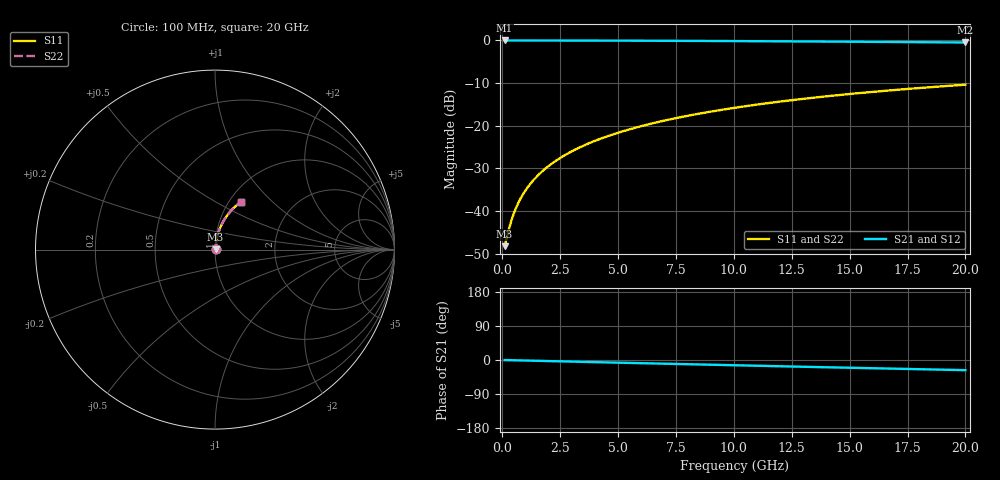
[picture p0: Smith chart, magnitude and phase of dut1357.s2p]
! Touchstone file exported from HFSS 2026.1.0
!  File:  C:/ffzhzh/LocalFiles/Ansys_Project_Files/temp_train_TMRDL_1357_1783165637_51560.aedt
!  Generated:  07:48:30 PM Jul  4, 2026
!  Design:  TMRDL
!  Project:  temp_train_TMRDL_1357_1783165637_51560
! Variables:
!  h_bsmrdl = 2um
!  h_ox = 20um
!  h_rdl = 5um
!  h_sub = 80um
!  h_tmrdl = 2.77um
!  h_tsv = 80um
!  h_via = 3um
!  l_bsmrdl = 300um
!  l_sub = 737.16um
!  l_tmrdl = 337.16um
!  m_sub = 200um
!  pitch = 38.82um
!  r_tsv = 6um
!  s_tmrdl = 10um
!  w_bsmrdl = 18um
!  w_sub = 500um
!  w_tmrdl = 13.04um
!  x_tsv_center1 = 343.68um
!  x_tsv_center2 = 661.68um
!  x_tsv_center3 = 1011.88um
!  x_tsv_center4 = 1329.88um
!  x_tsv_center5 = 1680.08um
!  x_tsv_center6 = 1998.08um
# GHz S MA R 50.000000
! Terminal data exported
! Port[1] = TM_RDL1_1_T1
! Port[2] = TM_RDL1_1_T2
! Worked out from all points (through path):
!   200 points, 100 MHz to 20 GHz, reference 50 ohm
!   highest |S21| = -0.03 dB at 100 MHz (marker M1); lowest = -0.5 dB at 20 GHz (marker M2)
!   group delay of S21, straight-line fit = 3.73 ps
!   lowest |S11| = -48.2 dB at 100 MHz (marker M3), VSWR 1.01, Z = 50.3 + j0.177 ohm
!   |S11| at or under -10 dB: start of sweep to end of sweep
!   |S22| runs from -48.2 to -10.4 dB; largest |S21 - S12| = 2.7e-15
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0.1  0.003894 26.8  0.9965 -0.1  0.9965 -0.1  0.003894 26.8
! Gamma 0 0 0 0
! Port Impedance 50 0 50 0
0.3  0.006355 55.4  0.9964 -0.4  0.9964 -0.4  0.006355 55.4
0.4  0.007866 61.9  0.9963 -0.6  0.9963 -0.6  0.007866 61.9
0.5  0.009433 66.2  0.9963 -0.7  0.9963 -0.7  0.009433 66.2
0.6  0.01102 69.2  0.9962 -0.9  0.9962 -0.9  0.01102 69.2
0.7  0.01263 71.3  0.9961 -1.0  0.9961 -1.0  0.01263 71.3
0.9  0.01585 74.4  0.996 -1.3  0.996 -1.3  0.01585 74.4
1.2  0.02071 77.0  0.9958 -1.7  0.9958 -1.7  0.02071 77.0
1.4  0.02396 78.2  0.9956 -2.0  0.9956 -2.0  0.02396 78.1
1.7  0.02886 79.3  0.9954 -2.4  0.9954 -2.4  0.02886 79.3
2.2  0.03705 80.3  0.995 -3.1  0.995 -3.1  0.03705 80.3
2.8  0.04689 80.7  0.9945 -4.0  0.9945 -4.0  0.04689 80.7
3.5  0.05837 80.6  0.9938 -4.9  0.9938 -4.9  0.05837 80.6
4.2  0.06981 80.2  0.9929 -5.9  0.9929 -5.9  0.06981 80.2
5  0.08283 79.6  0.9916 -7.0  0.9916 -7.0  0.08283 79.6
5.9  0.09736 78.7  0.9901 -8.3  0.9901 -8.3  0.09736 78.7
6.8  0.1118 77.7  0.9883 -9.5  0.9883 -9.5  0.1118 77.7
8.3  0.1355 75.9  0.9848 -11.6  0.9848 -11.6  0.1355 75.9
10.1  0.1633 73.7  0.98 -14.0  0.98 -14.0  0.1633 73.7
13.4  0.2124 69.5  0.9694 -18.4  0.9694 -18.4  0.2124 69.5
16.7  0.2589 65.4  0.9572 -22.7  0.9572 -22.7  0.2589 65.4
20  0.3026 61.4  0.9436 -26.8  0.9436 -26.8  0.3026 61.4
